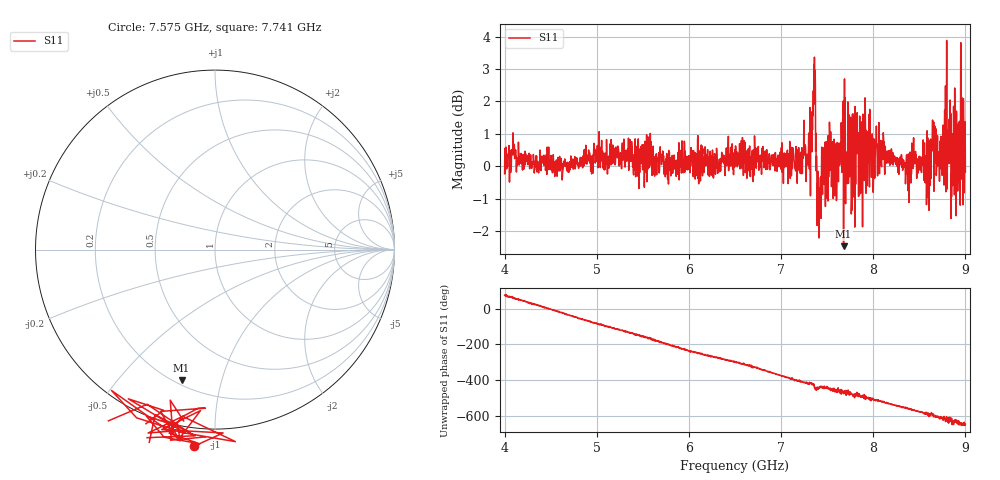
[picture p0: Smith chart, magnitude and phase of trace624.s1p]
! Created with skrf 1.8.0 (http://scikit-rf.org).
# Hz S RI R 50.0
!freq ReS11 ImS11
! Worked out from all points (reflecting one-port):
!   1601 points, 4 GHz to 9 GHz, reference 50 ohm
!   lowest |S11| = -2.5 dB at 7.678 GHz (marker M1), VSWR 7.08, Z = 11.2 - j37.6 ohm
!   phase of S11 starts at 77 deg and turns -727 deg over the sweep
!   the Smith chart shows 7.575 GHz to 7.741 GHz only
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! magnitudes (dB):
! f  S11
! 4 GHz  -0.2
! 4.1 GHz  0.7
! 4.625 GHz  -0.4
! 5.25 GHz  0.2
! 5.875 GHz  -0.3
! 6.5 GHz  0.5
! 7.125 GHz  0.3
! 7.294 GHz  0.0
! 7.347 GHz  1.6
! 7.369 GHz  3.0
! 7.4 GHz  -0.2
! 7.412 GHz  -2.2
! 7.466 GHz  -0.4
! 7.678 GHz  -2.5
! 7.75 GHz  -0.3
! 7.784 GHz  0.5
! 7.828 GHz  0.6
! 7.875 GHz  -0.5
! 7.962 GHz  1.8
! 8.375 GHz  -0.2
! 8.444 GHz  0.1
! 8.584 GHz  1.1
! 8.656 GHz  1.4
! 8.725 GHz  0.8
! 8.816 GHz  0.1
! 8.869 GHz  -0.3
! 8.972 GHz  0.3
! 9 GHz  -0.2
